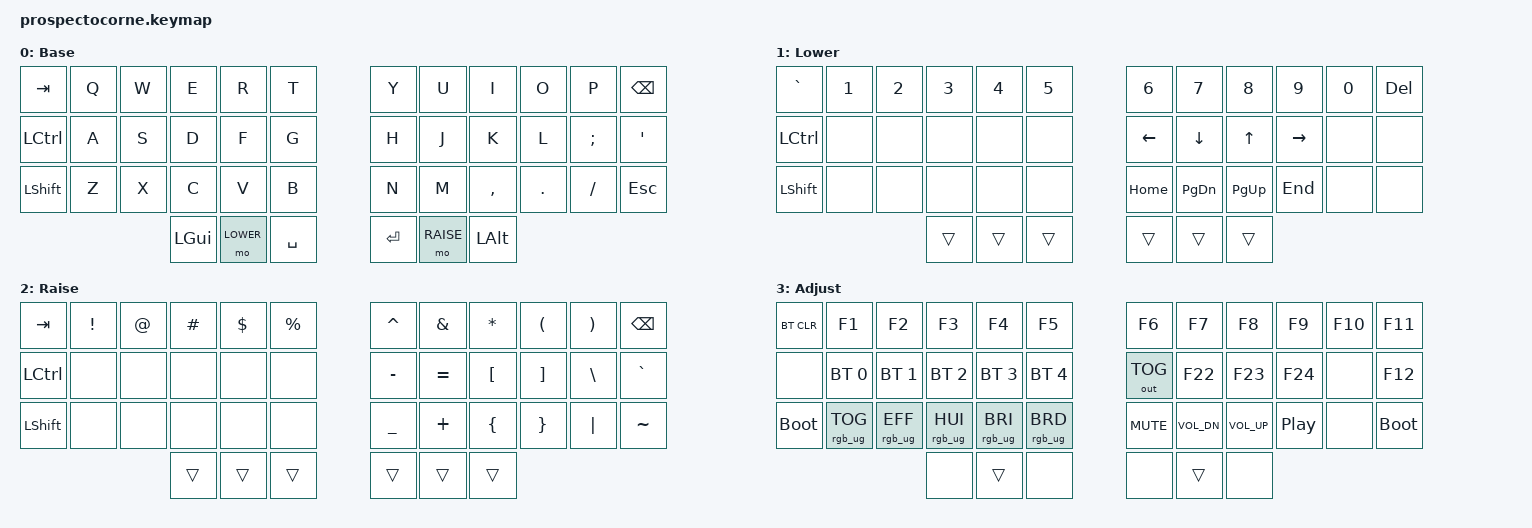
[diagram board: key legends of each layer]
/*
 * ProspectoCorne keymap -- Windows, creative apps + coding, first split keyboard.
 *
 * Layers: hold LWR = Lower, hold RSE = Raise, hold LWR + RSE together = Adjust.
 * Layer names show on the dongle screen.
 * Can be edited live (no reflash) with ZMK Studio: plug the dongle into USB,
 * open https://zmk.studio in Chrome/Edge.
 */

#include <behaviors.dtsi>
#include <dt-bindings/zmk/keys.h>
#include <dt-bindings/zmk/bt.h>
#include <dt-bindings/zmk/outputs.h>
#include <dt-bindings/zmk/rgb.h>

#define BASE   0
#define LOWER  1
#define RAISE  2
#define ADJUST 3

/ {
    // Hold Lower + Raise together -> Adjust
    conditional_layers {
        compatible = "zmk,conditional-layers";
        tri_layer {
            if-layers = <LOWER RAISE>;
            then-layer = <ADJUST>;
        };
    };

    // Press Left Shift + Esc together -> Caps Word (capitals until the end of the word)
    combos {
        compatible = "zmk,combos";
        combo_caps_word {
            timeout-ms = <50>;
            key-positions = <24 35>;
            bindings = <&caps_word>;
        };
    };

    keymap {
        compatible = "zmk,keymap";

        base_layer {
            display-name = "Base";
// ┌─────┬───┬───┬───┬───┬───┐   ┌───┬───┬───┬───┬───┬─────┐
// │ Tab │ Q │ W │ E │ R │ T │   │ Y │ U │ I │ O │ P │Bksp │
// │Ctrl │ A │ S │ D │ F │ G │   │ H │ J │ K │ L │ ; │  '  │
// │Shift│ Z │ X │ C │ V │ B │   │ N │ M │ , │ . │ / │ Esc │
//               │Win│LWR│Spc│   │Ent│RSE│Alt│
            bindings = <
&kp TAB    &kp Q  &kp W  &kp E  &kp R  &kp T      &kp Y    &kp U  &kp I      &kp O    &kp P     &kp BSPC
&kp LCTRL  &kp A  &kp S  &kp D  &kp F  &kp G      &kp H    &kp J  &kp K      &kp L    &kp SEMI  &kp SQT
&kp LSHFT  &kp Z  &kp X  &kp C  &kp V  &kp B      &kp N    &kp M  &kp COMMA  &kp DOT  &kp FSLH  &kp ESC
                  &kp LGUI  &mo LOWER  &kp SPACE  &kp RET  &mo RAISE  &kp LALT
            >;
        };

        lower_layer {
            display-name = "Lower";
// ┌─────┬───┬───┬───┬───┬───┐   ┌────┬────┬────┬────┬───┬─────┐
// │  `  │ 1 │ 2 │ 3 │ 4 │ 5 │   │ 6  │ 7  │ 8  │ 9  │ 0 │ Del │
// │Ctrl │   │   │   │   │   │   │ ←  │ ↓  │ ↑  │ →  │   │     │
// │Shift│   │   │   │   │   │   │Home│PgDn│PgUp│End │   │     │
//               │Win│ ▓ │Spc│   │Ent │RSE │Alt │
            bindings = <
&kp GRAVE  &kp N1  &kp N2  &kp N3  &kp N4  &kp N5     &kp N6    &kp N7    &kp N8    &kp N9     &kp N0  &kp DEL
&kp LCTRL  &none   &none   &none   &none   &none      &kp LEFT  &kp DOWN  &kp UP    &kp RIGHT  &none   &none
&kp LSHFT  &none   &none   &none   &none   &none      &kp HOME  &kp PG_DN &kp PG_UP &kp END    &none   &none
                           &trans  &trans  &trans     &trans    &trans    &trans
            >;
        };

        raise_layer {
            display-name = "Raise";
// ┌─────┬───┬───┬───┬───┬───┐   ┌───┬───┬───┬───┬───┬─────┐
// │ Tab │ ! │ @ │ # │ $ │ % │   │ ^ │ & │ * │ ( │ ) │Bksp │
// │Ctrl │   │   │   │   │   │   │ - │ = │ [ │ ] │ \ │  `  │
// │Shift│   │   │   │   │   │   │ _ │ + │ { │ } │ | │  ~  │
//               │Win│LWR│Spc│   │Ent│ ▓ │Alt│
            bindings = <
&kp TAB    &kp EXCL  &kp AT  &kp HASH  &kp DLLR  &kp PRCNT    &kp CARET  &kp AMPS   &kp ASTRK  &kp LPAR  &kp RPAR  &kp BSPC
&kp LCTRL  &none     &none   &none     &none     &none        &kp MINUS  &kp EQUAL  &kp LBKT   &kp RBKT  &kp BSLH  &kp GRAVE
&kp LSHFT  &none     &none   &none     &none     &none        &kp UNDER  &kp PLUS   &kp LBRC   &kp RBRC  &kp PIPE  &kp TILDE
                             &trans    &trans    &trans       &trans     &trans     &trans
            >;
        };

        adjust_layer {
            display-name = "Adjust";
// ┌──────┬────┬────┬────┬────┬────┐   ┌──────┬────┬────┬──────┬────┬──────┐
// │BT clr│ F1 │ F2 │ F3 │ F4 │ F5 │   │  F6  │ F7 │ F8 │  F9  │F10 │ F11  │
// │      │BT1 │BT2 │BT3 │BT4 │BT5 │   │USB/BT│Scrn│Dim │Bright│    │ F12  │
// │ Boot │RGB │RGB │RGB │RGB │RGB │   │ Mute │Vol-│Vol+│ Play │    │ Boot │
// │      │on/f│eff │colr│ +  │ -  │   │      │    │    │Pause │    │      │
//                  │    │ ▓  │    │   │      │ ▓  │    │
// Scrn = F22 toggle dongle screen, Dim = F23, Bright = F24 (handled by the dongle screen)
            bindings = <
&bt BT_CLR   &kp F1          &kp F2          &kp F3          &kp F4          &kp F5             &kp F6       &kp F7      &kp F8        &kp F9     &kp F10  &kp F11
&none        &bt BT_SEL 0    &bt BT_SEL 1    &bt BT_SEL 2    &bt BT_SEL 3    &bt BT_SEL 4       &out OUT_TOG &kp F22     &kp F23       &kp F24    &none    &kp F12
&bootloader  &rgb_ug RGB_TOG &rgb_ug RGB_EFF &rgb_ug RGB_HUI &rgb_ug RGB_BRI &rgb_ug RGB_BRD    &kp C_MUTE   &kp C_VOL_DN &kp C_VOL_UP &kp C_PP  &none    &bootloader
                                             &none           &trans          &none              &none        &trans      &none
            >;
        };

        // Spare layers that ZMK Studio can turn into new layers later
        extra_1 {
            status = "reserved";
        };

        extra_2 {
            status = "reserved";
        };
    };
};
